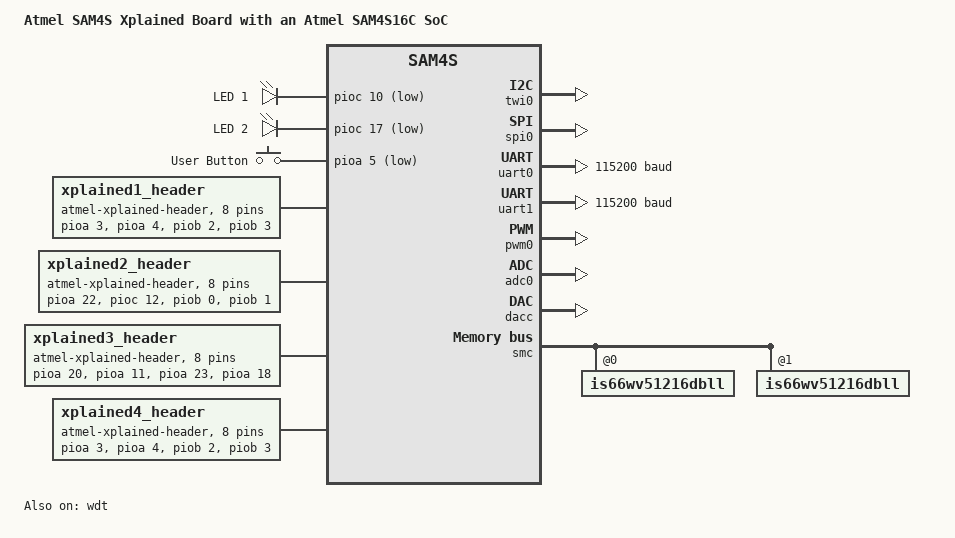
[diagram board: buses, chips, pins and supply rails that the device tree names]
/*
 * Copyright (c) Justin Watson 2017
 * SPDX-License-Identifier: Apache-2.0
 */

/dts-v1/;

#include <atmel/sam4s16c.dtsi>
#include "sam4s_xplained-pinctrl.dtsi"
#include <zephyr/dt-bindings/input/input-event-codes.h>

/ {
	model = "Atmel SAM4S Xplained Board with an Atmel SAM4S16C SoC";
	compatible = "atmel,sam4s_xplained", "atmel,sam4s16c", "atmel,sam4s";

	aliases {
		i2c-0 = &twi0;
		i2c-1 = &twi1;
		pwm-0 = &pwm0;
		led0 = &yellow_led_1;
		led1 = &yellow_led_2;
		sw0 = &user_button;
		watchdog0 = &wdt;
	};

	chosen {
		zephyr,console = &uart0;
		zephyr,shell-uart = &uart0;
		zephyr,sram = &sram0;
		zephyr,flash = &flash0;
	};

	sram1: sram@60000000 {
		compatible = "zephyr,memory-region", "mmio-sram";
		device_type = "memory";
		reg = <0x60000000 DT_SIZE_K(512)>;
		zephyr,memory-region = "SRAM1";
	};

	sram2: sram@61000000 {
		compatible = "zephyr,memory-region", "mmio-sram";
		device_type = "memory";
		reg = <0x61000000 DT_SIZE_K(512)>;
		zephyr,memory-region = "SRAM2";
	};

	leds {
		compatible = "gpio-leds";
		yellow_led_1: led_1 {
			gpios = <&pioc 10 GPIO_ACTIVE_LOW>;
			label = "LED 1";
		};
		yellow_led_2: led_2 {
			gpios = <&pioc 17 GPIO_ACTIVE_LOW>;
			label = "LED 2";
		};
	};

	gpio_keys {
		compatible = "gpio-keys";
		user_button: button_1 {
			label = "User Button";
			gpios = <&pioa 5 (GPIO_PULL_UP | GPIO_ACTIVE_LOW)>;
			zephyr,code = <INPUT_KEY_0>;
		};
	};

	xplained1_header: xplained-connector1 {
		compatible = "atmel-xplained-header";
		#gpio-cells = <2>;
		gpio-map-mask = <0xffffffff 0xffffffc0>;
		gpio-map-pass-thru = <0 0x3f>;		/*           Shared */
		gpio-map =	<0 0 &pioa  3 0>,	/* TWD0           y */
				<1 0 &pioa  4 0>,	/* TWCK0          y */
				<2 0 &piob  2 0>,	/* URXD1            */
				<3 0 &piob  3 0>,	/* UTXD1            */
				<4 0 &pioa 31 0>,	/* SPI(CS)          */
				<5 0 &pioa 13 0>,	/* SPI(MOSI)      y */
				<6 0 &pioa 12 0>,	/* SPI(MISO)      y */
				<7 0 &pioa 14 0>;	/* SPI(SCK)       y */
							/* GND              */
							/* +3.3V            */
	};

	xplained2_header: xplained-connector2 {
		compatible = "atmel-xplained-header";
		#gpio-cells = <2>;
		gpio-map-mask = <0xffffffff 0xffffffc0>;
		gpio-map-pass-thru = <0 0x3f>;		/*           Shared */
		gpio-map =	<0 0 &pioa 22 0>,	/* GPIO             */
				<1 0 &pioc 12 0>,	/* GPIO             */
				<2 0 &piob  0 0>,	/* GPIO             */
				<3 0 &piob  1 0>,	/* GPIO             */
				<4 0 &pioa 17 0>,	/* GPIO             */
				<5 0 &pioa 21 0>,	/* GPIO             */
				<6 0 &pioc 13 0>,	/* GPIO             */
				<7 0 &pioc 15 0>;	/* GPIO             */
							/* GND              */
							/* +3.3V            */
	};

	xplained3_header: xplained-connector3 {
		compatible = "atmel-xplained-header";
		#gpio-cells = <2>;
		gpio-map-mask = <0xffffffff 0xffffffc0>;
		gpio-map-pass-thru = <0 0x3f>;		/*           Shared */
		gpio-map =	<0 0 &pioa 20 0>,	/* GPIO             */
				<1 0 &pioa 11 0>,	/* GPIO             */
				<2 0 &pioa 23 0>,	/* GPIO             */
				<3 0 &pioa 18 0>,	/* GPIO             */
				<4 0 &pioa 15 0>,	/* GPIO             */
				<5 0 &pioa 16 0>,	/* GPIO             */
				<6 0 &pioa  2 0>,	/* GPIO             */
				<7 0 &pioc  2 0>;	/* GPIO             */
							/* GND              */
							/* +3.3V            */
	};

	xplained4_header: xplained-connector4 {
		compatible = "atmel-xplained-header";
		#gpio-cells = <2>;
		gpio-map-mask = <0xffffffff 0xffffffc0>;
		gpio-map-pass-thru = <0 0x3f>;		/*           Shared */
		gpio-map =	<0 0 &pioa  3 0>,	/* TWD0           y */
				<1 0 &pioa  4 0>,	/* TWCK0          y */
				<2 0 &piob  2 0>,	/* URXD1            */
				<3 0 &piob  3 0>,	/* UTXD1            */
				<4 0 &pioa 30 0>,	/* SPI(CS)          */
				<5 0 &pioa 13 0>,	/* SPI(MOSI)      y */
				<6 0 &pioa 12 0>,	/* SPI(MISO)      y */
				<7 0 &pioa 14 0>;	/* SPI(SCK)       y */
							/* GND              */
							/* +3.3V            */
	};
};

&cpu0 {
	clock-frequency = <120000000>;
};

&twi0 {
	status = "okay";

	pinctrl-0 = <&twi0_default>;
	pinctrl-names = "default";
};

&spi0 {
	status = "okay";

	pinctrl-0 = <&spi0_default>;
	pinctrl-names = "default";

	cs-gpios = <&pioa 31 GPIO_ACTIVE_LOW>,
		   <&pioa 30 GPIO_ACTIVE_LOW>;
};

&uart0 {
	status = "okay";
	current-speed = <115200>;

	pinctrl-0 = <&uart0_default>;
	pinctrl-names = "default";
};

&uart1 {
	status = "okay";
	current-speed = <115200>;

	pinctrl-0 = <&uart1_default>;
	pinctrl-names = "default";
};

&pwm0 {
	status = "okay";

	pinctrl-0 = <&pwm0_default>;
	pinctrl-names = "default";
};

&adc0 {
	status = "okay";

	pinctrl-0 = <&adc0_default>;
	pinctrl-names = "default";

	prescaler = <9>;
	startup-time = <64>;
	settling-time = <3>;
	tracking-time = <2>;
};

&dacc {
	status = "okay";

	pinctrl-0 = <&dacc_default>;
	pinctrl-names = "default";
};

&wdt {
	status = "okay";
};

xplained1_i2c: &twi0 {
};

xplained1_spi: &spi0 {
};

xplained1_serial: &uart1 {
};

xplained4_i2c: &twi0 {
};

xplained4_spi: &spi0 {
};

xplained4_serial: &uart1 {
};

&smc {
	status = "okay";
	pinctrl-0 = <&smc_default>;
	pinctrl-names = "default";

	is66wv51216dbll@0 {
		reg = <0>;

		atmel,smc-write-mode = "nwe";
		atmel,smc-read-mode = "nrd";
		atmel,smc-setup-timing = <1 1 1 1>;
		atmel,smc-pulse-timing = <6 6 6 6>;
		atmel,smc-cycle-timing = <7 7>;
	};

	is66wv51216dbll@1 {
		reg = <1>;

		atmel,smc-write-mode = "nwe";
		atmel,smc-read-mode = "nrd";
		atmel,smc-setup-timing = <1 1 1 1>;
		atmel,smc-pulse-timing = <6 6 6 6>;
		atmel,smc-cycle-timing = <7 7>;
	};
};
